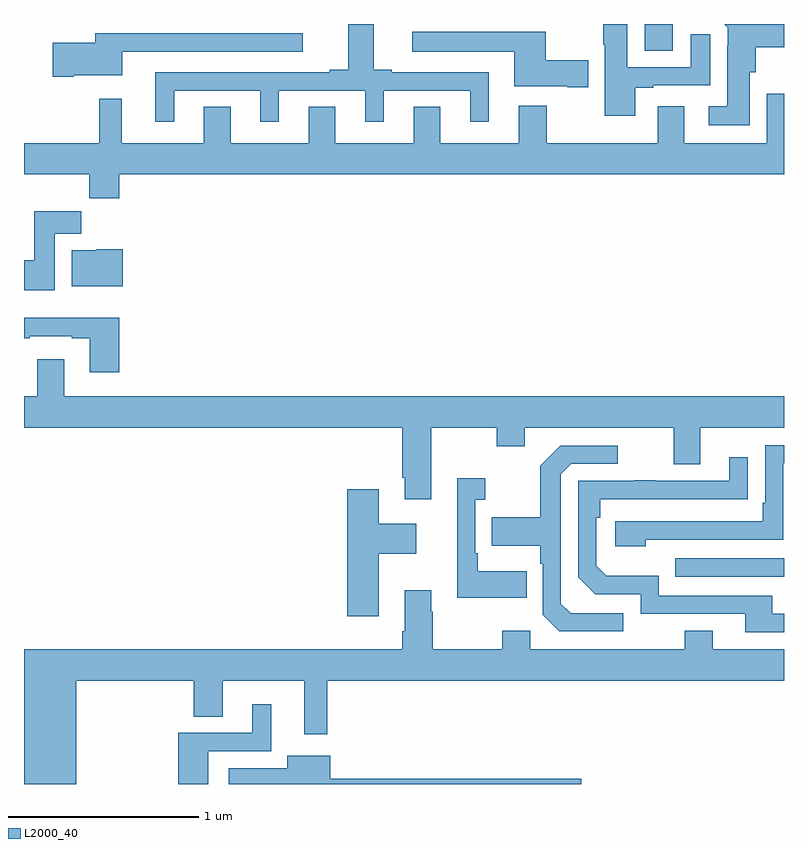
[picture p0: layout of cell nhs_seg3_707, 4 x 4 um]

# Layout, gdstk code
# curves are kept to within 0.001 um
import gdstk
lib = gdstk.Library(unit=1e-6, precision=1e-09)
def R(c, l, rs):  # rectangles x0, y0, x1, y1
    for r in rs: c.add(gdstk.rectangle(r[:2], r[2:], *l))
def P(c, l, *ps):  # polygons
    for p in ps: c.add(gdstk.Polygon(p, *l))
L2000_40 = (2000, 40)

nhs_seg3_707 = lib.new_cell('nhs_seg3_707')
R(nhs_seg3_707, L2000_40, [(150.427,673.491,151,673.587), (150.266,676.258,150.415,676.4)])
P(nhs_seg3_707, L2000_40, [(150.82,676.146),(150.851,676.146),(150.851,676.277),(151,676.277),(151,676.4),(150.685,676.4),(150.705,676.38),(150.705,676.286),(150.701,676.286),(150.701,675.967),(150.603,675.967),(150.603,675.866),(150.82,675.866)],
  [(150.217,676.065),(150.313,676.065),(150.313,676.077),(150.613,676.077),(150.613,676.345),(150.509,676.345),(150.509,676.173),(150.175,676.173),(150.175,676.4),(150.049,676.4),(150.049,676.291),(150.056,676.291),(150.056,675.918),(150.217,675.918)],
  [(147.79,676.05),(148.244,676.05),(148.244,675.885),(148.342,675.885),(148.342,676.05),(148.796,676.05),(148.796,675.885),(148.894,675.885),(148.894,676.05),(149.348,676.05),(149.348,675.885),(149.446,675.885),(149.446,676.146),(148.936,676.146),(148.936,676.159),(148.84,676.159),(148.84,676.4),(148.706,676.4),(148.706,676.159),(148.61,676.159),(148.61,676.146),(147.692,676.146),(147.692,675.885),(147.79,675.885)],
  [(149.971,676.208),(149.746,676.208),(149.746,676.36),(149.043,676.36),(149.043,676.253),(149.579,676.253),(149.579,676.073),(149.858,676.073),(149.858,676.066),(149.971,676.066)],
  [(147.262,676.13),(147.517,676.13),(147.517,676.254),(148.468,676.254),(148.468,676.351),(147.374,676.351),(147.374,676.301),(147.15,676.301),(147.15,676.123),(147.262,676.123)],
  [(147.5,675.608),(151,675.608),(151,676.033),(150.909,676.033),(150.909,675.772),(150.475,675.772),(150.475,675.967),(150.335,675.967),(150.335,675.772),(149.751,675.772),(149.751,675.97),(149.603,675.97),(149.603,675.772),(149.191,675.772),(149.191,675.965),(149.051,675.965),(149.051,675.772),(148.639,675.772),(148.639,675.965),(148.499,675.965),(148.499,675.772),(148.087,675.772),(148.087,675.965),(147.947,675.965),(147.947,675.772),(147.515,675.772),(147.515,676.006),(147.397,676.006),(147.397,675.772),(147,675.772),(147,675.608),(147.343,675.608),(147.343,675.484),(147.5,675.484)],
  [(147.163,675.296),(147.302,675.296),(147.302,675.415),(147.053,675.415),(147.053,675.156),(147,675.156),(147,675),(147.163,675)],
  [(147.52,675.214),(147.384,675.214),(147.384,675.208),(147.251,675.208),(147.251,675.02),(147.52,675.02)],
  [(147.5,674.854),(147,674.854),(147,674.745),(147.031,674.745),(147.031,674.757),(147.251,674.757),(147.251,674.745),(147.347,674.745),(147.347,674.568),(147.5,674.568)],
  [(149.143,674.276),(149.488,674.276),(149.488,674.177),(149.635,674.177),(149.635,674.276),(150.419,674.276),(150.419,674.082),(150.559,674.082),(150.559,674.276),(151,674.276),(151,674.44),(147.211,674.44),(147.211,674.635),(147.071,674.635),(147.071,674.44),(147,674.44),(147,674.276),(148.991,674.276),(148.991,674.011),(149.003,674.011),(149.003,673.899),(149.143,673.899)],
  [(150.272,673.686),(150.996,673.686),(150.996,674.088),(151,674.088),(151,674.184),(150.9,674.184),(150.9,673.879),(150.887,673.879),(150.887,673.782),(150.111,673.782),(150.111,673.652),(150.272,673.652)],
  [(150.154,673.299),(149.877,673.299),(149.826,673.35),(149.826,674.031),(149.88,674.085),(150.124,674.085),(150.124,674.181),(149.823,674.181),(149.718,674.075),(149.718,673.803),(149.461,673.803),(149.461,673.655),(149.718,673.655),(149.718,673.559),(149.73,673.559),(149.73,673.29),(149.817,673.203),(150.154,673.203)],
  [(151,673.296),(150.937,673.296),(150.937,673.392),(150.342,673.392),(150.342,673.495),(150.065,673.495),(150.012,673.548),(150.012,673.802),(150.032,673.802),(150.032,673.899),(150.809,673.9),(150.809,674.119),(150.713,674.119),(150.713,673.995),(150.323,673.995),(150.323,674),(150.211,674),(150.211,673.995),(149.916,673.995),(149.916,673.488),(150.006,673.398),(150.246,673.398),(150.246,673.296),(150.797,673.296),(150.797,673.2),(151,673.2)],
  [(149.645,673.519),(149.389,673.519),(149.389,673.615),(149.376,673.615),(149.376,673.895),(149.428,673.895),(149.428,674.008),(149.279,674.008),(149.279,673.379),(149.645,673.379)],
  [(148.867,673.613),(149.065,673.613),(149.065,673.771),(148.867,673.771),(148.867,673.951),(148.7,673.951),(148.7,673.284),(148.867,673.284)],
  [(147,672.4),(147.274,672.4),(147.274,672.944),(147.893,672.944),(147.893,672.754),(148.045,672.754),(148.045,672.944),(148.475,672.944),(148.475,672.663),(148.597,672.663),(148.597,672.944),(151,672.944),(151,673.108),(150.625,673.108),(150.625,673.207),(150.478,673.207),(150.478,673.108),(149.664,673.108),(149.664,673.207),(149.518,673.207),(149.518,673.108),(149.151,673.108),(149.151,673.307),(149.143,673.307),(149.143,673.42),(149.003,673.42),(149.003,673.204),(148.991,673.204),(148.991,673.108),(147,673.108)],
  [(147.97,672.573),(148.3,672.573),(148.3,672.82),(148.202,672.82),(148.202,672.669),(147.812,672.669),(147.812,672.4),(147.97,672.4)],
  [(149.932,672.428),(148.612,672.428),(148.612,672.55),(148.385,672.55),(148.385,672.483),(148.077,672.483),(148.077,672.4),(149.932,672.4)])

lib.write_gds('nhs_seg3_707.gds')
